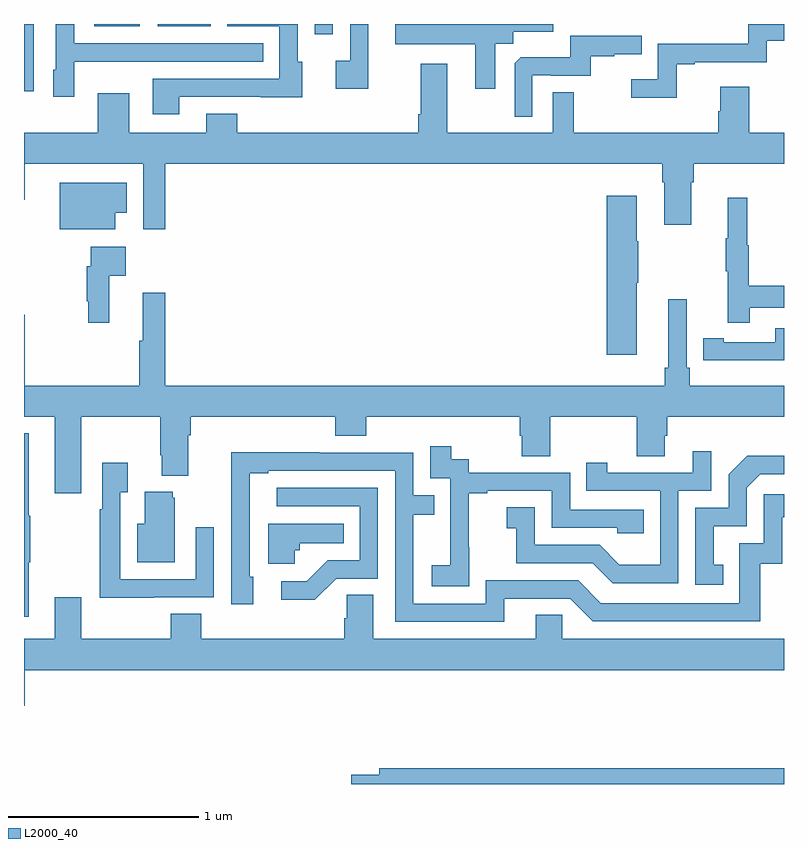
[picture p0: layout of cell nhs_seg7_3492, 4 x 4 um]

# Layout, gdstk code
import gdstk
lib = gdstk.Library(unit=1e-6, precision=1e-09)
def R(c, l, rs):  # rectangles x0, y0, x1, y1
    for r in rs: c.add(gdstk.rectangle(r[:2], r[2:], *l))
def P(c, l, *ps):  # polygons
    for p in ps: c.add(gdstk.Polygon(p, *l))
L2000_40 = (2000, 40)

nhs_seg7_3492 = lib.new_cell('nhs_seg7_3492')
R(nhs_seg7_3492, L2000_40, [(333,1019.646,333.051,1020), (334.53,1019.946,334.626,1020), (333.371,1019.987,333.61,1020), (333.704,1019.987,333.982,1020)])
P(nhs_seg7_3492, L2000_40, [(336.435,1019.787),(336.529,1019.787),(336.529,1019.799),(336.909,1019.799),(336.909,1019.913),(337,1019.913),(337,1020),(336.813,1020),(336.813,1019.895),(336.336,1019.895),(336.336,1019.71),(336.195,1019.71),(336.195,1019.612),(336.435,1019.612)],
  [(333.264,1019.801),(333.581,1019.801),(333.581,1019.802),(334.259,1019.802),(334.259,1019.898),(333.264,1019.898),(333.264,1020),(333.168,1020),(333.168,1019.76),(333.155,1019.76),(333.155,1019.616),(333.264,1019.616)],
  [(333.817,1019.616),(334.247,1019.616),(334.247,1019.615),(334.465,1019.615),(334.465,1019.802),(334.44,1019.802),(334.44,1020),(334.071,1020),(334.071,1019.988),(334.344,1019.988),(334.344,1019.712),(333.677,1019.712),(333.677,1019.526),(333.817,1019.526)],
  [(335.479,1019.896),(335.574,1019.896),(335.574,1019.96),(335.785,1019.96),(335.785,1020),(334.955,1020),(334.955,1019.894),(335.375,1019.894),(335.375,1019.658),(335.479,1019.658)],
  [(334.813,1020),(334.716,1020),(334.716,1019.806),(334.641,1019.806),(334.641,1019.658),(334.813,1019.658)],
  [(335.676,1019.73),(335.776,1019.73),(335.776,1019.727),(335.984,1019.727),(335.984,1019.829),(336.107,1019.829),(336.107,1019.84),(336.251,1019.84),(336.251,1019.937),(335.874,1019.937),(335.874,1019.825),(335.615,1019.825),(335.583,1019.793),(335.583,1019.513),(335.676,1019.513)],
  [(333.743,1019.264),(336.359,1019.264),(336.359,1019.168),(336.371,1019.168),(336.371,1018.944),(336.511,1018.944),(336.511,1019.168),(336.524,1019.168),(336.524,1019.264),(337,1019.264),(337,1019.428),(336.817,1019.428),(336.817,1019.671),(336.665,1019.671),(336.665,1019.541),(336.653,1019.541),(336.653,1019.428),(335.893,1019.428),(335.893,1019.642),(335.784,1019.642),(335.784,1019.428),(335.227,1019.428),(335.227,1019.791),(335.087,1019.791),(335.087,1019.524),(335.075,1019.524),(335.075,1019.428),(334.123,1019.428),(334.123,1019.527),(333.959,1019.527),(333.959,1019.428),(333.553,1019.428),(333.553,1019.635),(333.389,1019.635),(333.389,1019.428),(333,1019.428),(333,1019.076),(333.004,1019.076),(333.004,1019.264),(333.627,1019.264),(333.627,1018.92),(333.743,1018.92)],
  [(333.481,1019.006),(333.542,1019.006),(333.542,1019.164),(333.188,1019.164),(333.188,1018.919),(333.481,1018.919)],
  [(336.226,1018.639),(336.234,1018.639),(336.234,1018.856),(336.226,1018.856),(336.226,1019.095),(336.068,1019.095),(336.068,1018.26),(336.226,1018.26)],
  [(336.821,1018.506),(337,1018.506),(337,1018.622),(336.814,1018.622),(336.814,1018.836),(336.806,1018.836),(336.806,1019.086),(336.704,1019.086),(336.704,1018.873),(336.693,1018.873),(336.693,1018.699),(336.704,1018.699),(336.704,1018.428),(336.821,1018.428)],
  [(333.449,1018.676),(333.535,1018.676),(333.535,1018.828),(333.351,1018.828),(333.351,1018.724),(333.331,1018.724),(333.331,1018.54),(333.339,1018.54),(333.339,1018.428),(333.449,1018.428)],
  [(333.743,1018.585),(333.626,1018.585),(333.626,1018.332),(333.607,1018.332),(333.607,1018.096),(333.004,1018.096),(333.004,1018.471),(333,1018.471),(333,1017.932),(333.161,1017.932),(333.161,1017.531),(333.301,1017.531),(333.301,1017.932),(333.718,1017.932),(333.718,1017.73),(333.725,1017.73),(333.725,1017.623),(333.865,1017.623),(333.865,1017.836),(333.878,1017.836),(333.878,1017.932),(334.637,1017.932),(334.637,1017.833),(334.802,1017.833),(334.802,1017.932),(335.609,1017.932),(335.609,1017.834),(335.621,1017.834),(335.621,1017.724),(335.769,1017.724),(335.769,1017.932),(336.226,1017.932),(336.226,1017.724),(336.373,1017.724),(336.373,1017.834),(336.386,1017.834),(336.386,1017.932),(337,1017.932),(337,1018.096),(336.503,1018.096),(336.503,1018.192),(336.489,1018.192),(336.489,1018.552),(336.392,1018.552),(336.392,1018.192),(336.373,1018.192),(336.373,1018.096),(333.743,1018.096)],
  [(337,1018.398),(336.954,1018.398),(336.954,1018.326),(336.682,1018.326),(336.682,1018.346),(336.574,1018.346),(336.574,1018.23),(336.682,1018.23),(336.682,1018.229),(337,1018.229)],
  [(333.025,1017.168),(333.033,1017.168),(333.033,1017.412),(333.025,1017.412),(333.025,1017.847),(333,1017.847),(333,1016.88),(333.025,1016.88)],
  [(335.343,1017.247),(335.342,1017.247),(335.342,1017.531),(335.437,1017.531),(335.437,1017.543),(335.778,1017.543),(335.778,1017.348),(336.123,1017.348),(336.123,1017.321),(336.263,1017.321),(336.263,1017.444),(335.874,1017.444),(335.874,1017.639),(335.34,1017.639),(335.34,1017.708),(335.248,1017.708),(335.248,1017.778),(335.139,1017.778),(335.139,1017.609),(335.244,1017.609),(335.244,1017.38),(335.243,1017.38),(335.243,1017.151),(335.145,1017.151),(335.145,1017.041),(335.343,1017.041)],
  [(336.444,1017.543),(336.618,1017.543),(336.618,1017.751),(336.521,1017.751),(336.521,1017.639),(336.07,1017.639),(336.07,1017.691),(335.959,1017.691),(335.959,1017.543),(336.348,1017.543),(336.348,1017.154),(336.134,1017.154),(336.03,1017.258),(335.688,1017.258),(335.688,1017.457),(335.541,1017.457),(335.541,1017.347),(335.59,1017.347),(335.59,1017.162),(335.993,1017.162),(336.098,1017.057),(336.444,1017.057)],
  [(335.527,1016.976),(335.874,1016.976),(335.994,1016.856),(336.874,1016.856),(336.874,1017.159),(336.992,1017.159),(336.992,1017.405),(337,1017.405),(337,1017.526),(336.894,1017.526),(336.894,1017.267),(336.765,1017.267),(336.765,1016.952),(336.036,1016.952),(335.916,1017.072),(335.43,1017.072),(335.43,1016.949),(335.049,1016.949),(335.049,1017.418),(335.159,1017.418),(335.159,1017.519),(335.049,1017.519),(335.049,1017.744),(334.553,1017.744),(334.553,1017.746),(334.09,1017.746),(334.09,1017.439),(334.092,1017.439),(334.092,1016.946),(334.207,1016.946),(334.207,1017.09),(334.188,1017.09),(334.188,1017.636),(334.285,1017.636),(334.285,1017.648),(334.953,1017.648),(334.953,1016.853),(335.527,1016.853)],
  [(336.68,1017.153),(336.631,1017.153),(336.631,1017.357),(336.804,1017.357),(336.804,1017.558),(336.876,1017.63),(337,1017.63),(337,1017.728),(336.806,1017.728),(336.708,1017.63),(336.708,1017.453),(336.534,1017.453),(336.534,1017.048),(336.68,1017.048)],
  [(333.683,1016.982),(333.999,1016.982),(333.999,1017.352),(333.903,1017.352),(333.903,1017.078),(333.507,1017.078),(333.507,1017.535),(333.547,1017.535),(333.547,1017.691),(333.411,1017.691),(333.411,1017.446),(333.399,1017.446),(333.399,1016.981),(333.683,1016.981)],
  [(334.644,1017.081),(334.863,1017.081),(334.863,1017.558),(334.329,1017.558),(334.329,1017.462),(334.767,1017.462),(334.767,1017.177),(334.598,1017.177),(334.487,1017.066),(334.353,1017.066),(334.353,1016.969),(334.531,1016.969)],
  [(333.793,1017.507),(333.782,1017.507),(333.782,1017.538),(333.635,1017.538),(333.635,1017.37),(333.596,1017.37),(333.596,1017.167),(333.793,1017.167)],
  [(334.425,1017.231),(334.452,1017.231),(334.452,1017.266),(334.682,1017.266),(334.682,1017.37),(334.286,1017.37),(334.286,1017.158),(334.425,1017.158)],
  [(333.004,1016.6),(337,1016.6),(337,1016.764),(335.832,1016.764),(335.832,1016.891),(335.693,1016.891),(335.693,1016.764),(334.837,1016.764),(334.837,1016.996),(334.698,1016.996),(334.698,1016.873),(334.685,1016.873),(334.685,1016.764),(333.932,1016.764),(333.932,1016.897),(333.772,1016.897),(333.772,1016.764),(333.301,1016.764),(333.301,1016.983),(333.161,1016.983),(333.161,1016.764),(333,1016.764),(333,1016.412),(333.004,1016.412)],
  [(337,1016.084),(334.871,1016.084),(334.871,1016.048),(334.722,1016.048),(334.722,1016),(337,1016)])

lib.write_gds('nhs_seg7_3492.gds')
